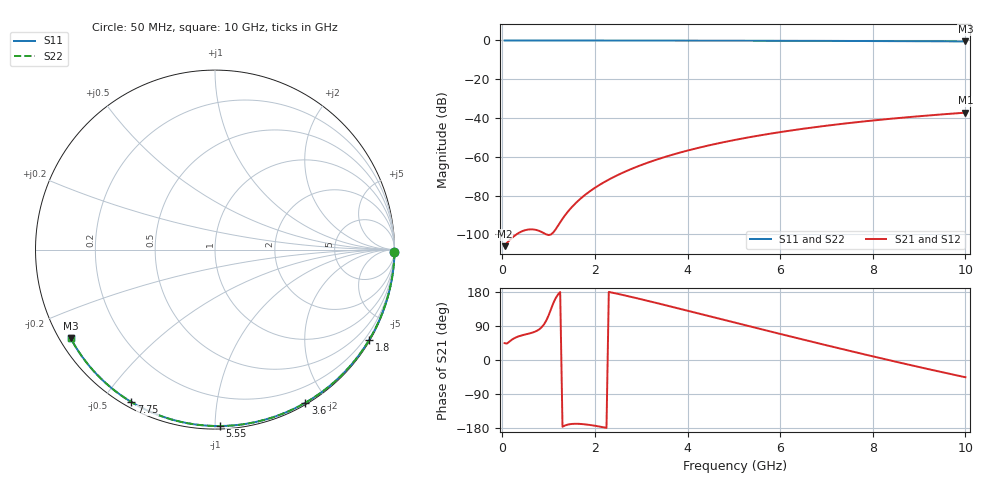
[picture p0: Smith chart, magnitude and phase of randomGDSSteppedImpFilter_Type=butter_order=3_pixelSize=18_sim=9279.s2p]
! freq	dB(S11)	phase(S11)	dB(S12)	phase(S12)
!  dB(S21)	phase(S21)	dB(S22)	phase(S22)
!S-par simulation data
#  GHz  S  DB  R 50
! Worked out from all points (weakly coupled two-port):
!   200 points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, 50 MHz to 10 GHz, reference 50 ohm
!   highest |S21| = -37.21 dB at 10 GHz (marker M1); lowest = -106.0 dB at 50 MHz (marker M2)
!   lowest |S11| = -0.5 dB at 10 GHz (marker M3), VSWR 34.38, Z = 1.57 - j14.2 ohm
!   |S11| at or under -10 dB: nowhere
!   |S22| runs from -0.5 to 0.0 dB; largest |S21 - S12| = 0
!   S11 on the Smith chart (normalised r, x): 50 MHz: open; 1.8 GHz: 0.03, -3.67; 3.6 GHz: 0.02, -1.75; 5.55 GHz: 0.02, -1.03; 7.75 GHz: 0.02, -0.59; 10 GHz: 0.03, -0.28
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0.05  -0.00 -0.9  -106.03 44.5  -106.03 44.5  -0.00 -0.9
0.45  -0.01 -7.7  -98.13 65.9  -98.13 65.9  -0.01 -7.7
0.9  -0.02 -15.4  -99.36 93.9  -99.36 93.9  -0.02 -15.4
1.3  -0.03 -22.1  -91.94 -176.2  -91.94 -176.2  -0.03 -22.1
1.75  -0.04 -29.7  -80.32 -169.3  -80.32 -169.3  -0.04 -29.7
1.8  -0.04 -30.5  -79.36 -170.0  -79.36 -170.0  -0.04 -30.5
1.95  -0.04 -33.0  -76.75 -172.5  -76.75 -172.5  -0.04 -33.0
2.1  -0.05 -35.4  -74.45 -175.6  -74.45 -175.6  -0.05 -35.4
2.3  -0.05 -38.7  -71.71 179.6  -71.71 179.6  -0.05 -38.7
2.5  -0.05 -42.0  -69.29 174.4  -69.29 174.4  -0.05 -42.0
2.9  -0.06 -48.4  -65.14 163.2  -65.14 163.2  -0.06 -48.4
3.4  -0.08 -56.3  -60.89 148.4  -60.89 148.4  -0.08 -56.3
3.6  -0.08 -59.4  -59.41 142.3  -59.41 142.3  -0.08 -59.4
4.3  -0.10 -70.1  -54.97 120.8  -54.97 120.8  -0.10 -70.1
5.05  -0.13 -81.3  -51.14 97.8  -51.14 97.8  -0.13 -81.3
5.55  -0.15 -88.5  -48.98 82.5  -48.98 82.5  -0.15 -88.5
6.1  -0.17 -96.3  -46.88 65.8  -46.88 65.8  -0.17 -96.3
6.7  -0.20 -104.6  -44.86 47.8  -44.86 47.8  -0.20 -104.6
7.75  -0.28 -118.7  -41.88 16.8  -41.88 16.8  -0.28 -118.7
8.35  -0.33 -126.6  -40.44 -0.4  -40.44 -0.4  -0.33 -126.6
9.2  -0.41 -137.8  -38.67 -24.1  -38.67 -24.1  -0.41 -137.8
10  -0.51 -148.3  -37.21 -45.5  -37.21 -45.5  -0.51 -148.3
